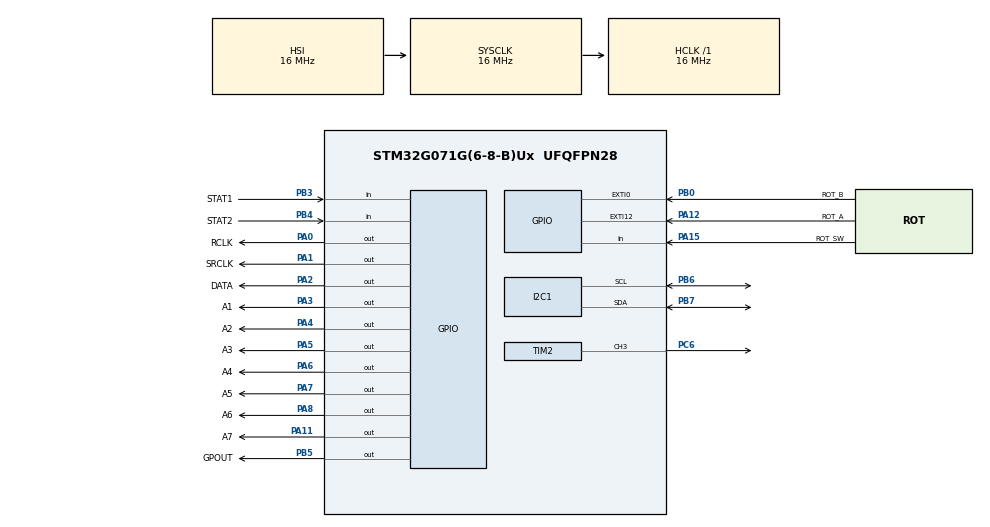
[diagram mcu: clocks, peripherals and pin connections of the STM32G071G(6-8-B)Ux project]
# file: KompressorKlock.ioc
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I2C1.Timing=0x00503D58
Mcu.Family=STM32G0
Mcu.Name=STM32G071G(6-8-B)Ux
Mcu.Package=UFQFPN28
NVIC.EXTI0_1_IRQn=true\:0\:0\:false\:false\:true\:true\:true\:true
NVIC.EXTI4_15_IRQn=true\:0\:0\:false\:false\:true\:true\:true\:true
NVIC.TIM3_IRQn=true\:0\:0\:false\:false\:true\:true\:true\:true
PA0.GPIO_Label=RCLK
PA0.GPIO_PuPd=GPIO_PULLDOWN
PA0.GPIO_Speed=GPIO_SPEED_FREQ_HIGH
PA0.PinState=GPIO_PIN_SET
PA0.Signal=GPIO_Output
PA1.GPIO_Label=SRCLK
PA1.GPIO_PuPd=GPIO_PULLDOWN
PA1.GPIO_Speed=GPIO_SPEED_FREQ_HIGH
PA1.PinState=GPIO_PIN_SET
PA1.Signal=GPIO_Output
PA11\ [PA9].GPIO_Label=A7
PA11\ [PA9].GPIO_PuPd=GPIO_PULLUP
PA11\ [PA9].GPIO_Speed=GPIO_SPEED_FREQ_HIGH
PA11\ [PA9].PinState=GPIO_PIN_SET
PA11\ [PA9].Signal=GPIO_Output
PA12\ [PA10].GPIO_Label=ROT_A
PA12\ [PA10].GPIO_ModeDefaultEXTI=GPIO_MODE_IT_RISING_FALLING
PA12\ [PA10].GPIO_PuPd=GPIO_PULLUP
PA12\ [PA10].Signal=GPXTI12
PA15.GPIO_Label=ROT_SW
PA15.GPIO_PuPd=GPIO_PULLUP
PA15.Signal=GPIO_Input
PA2.GPIO_Label=DATA
PA2.GPIO_PuPd=GPIO_PULLDOWN
PA2.GPIO_Speed=GPIO_SPEED_FREQ_HIGH
PA2.PinState=GPIO_PIN_SET
PA2.Signal=GPIO_Output
PA3.GPIO_Label=A1
PA3.GPIO_PuPd=GPIO_PULLUP
PA3.GPIO_Speed=GPIO_SPEED_FREQ_HIGH
PA3.PinState=GPIO_PIN_SET
PA3.Signal=GPIO_Output
PA4.GPIO_Label=A2
PA4.GPIO_PuPd=GPIO_PULLUP
PA4.GPIO_Speed=GPIO_SPEED_FREQ_HIGH
PA4.PinState=GPIO_PIN_SET
PA4.Signal=GPIO_Output
PA5.GPIO_Label=A3
PA5.GPIO_PuPd=GPIO_PULLUP
PA5.GPIO_Speed=GPIO_SPEED_FREQ_HIGH
PA5.PinState=GPIO_PIN_SET
PA5.Signal=GPIO_Output
PA6.GPIO_Label=A4
PA6.GPIO_PuPd=GPIO_PULLUP
PA6.GPIO_Speed=GPIO_SPEED_FREQ_HIGH
PA6.PinState=GPIO_PIN_SET
PA6.Signal=GPIO_Output
PA7.GPIO_Label=A5
PA7.GPIO_PuPd=GPIO_PULLUP
PA7.GPIO_Speed=GPIO_SPEED_FREQ_HIGH
PA7.PinState=GPIO_PIN_SET
PA7.Signal=GPIO_Output
PA8.GPIO_Label=A6
PA8.GPIO_PuPd=GPIO_PULLUP
PA8.GPIO_Speed=GPIO_SPEED_FREQ_HIGH
PA8.PinState=GPIO_PIN_SET
PA8.Signal=GPIO_Output
PB0.GPIO_Label=ROT_B
PB0.GPIO_ModeDefaultEXTI=GPIO_MODE_IT_RISING_FALLING
PB0.GPIO_PuPd=GPIO_PULLUP
PB0.Signal=GPXTI0
PB3.GPIO_Label=STAT1
PB3.Signal=GPIO_Input
PB4.GPIO_Label=STAT2
PB4.Signal=GPIO_Input
PB5.GPIO_Label=GPOUT
PB5.Signal=GPIO_Output
PB6.Mode=I2C
PB6.Signal=I2C1_SCL
PB7.Mode=I2C
PB7.Signal=I2C1_SDA
PC6.Signal=S_TIM2_CH3
ProjectManager.HeapSize=0x200
ProjectManager.StackSize=0x400
ProjectManager.TargetToolchain=STM32CubeIDE
RCC.AHBFreq_Value=16000000
RCC.CortexFreq_Value=16000000
RCC.EXTERNAL_CLOCK_VALUE=48000
RCC.HCLKFreq_Value=16000000
RCC.HSE_VALUE=8000000
RCC.HSI_VALUE=16000000
RCC.LSE_VALUE=32768
RCC.SYSCLKFreq_VALUE=16000000
RCC.VCOOutputFreq_Value=128000000
SH.S_TIM2_CH3.0=TIM2_CH3,PWM Generation3 CH3
TIM2.Channel-PWM\ Generation3\ CH3=TIM_CHANNEL_3
TIM3.AutoReloadPreload=TIM_AUTORELOAD_PRELOAD_ENABLE
TIM3.Channel-Output\ Compare1\ No\ Output=TIM_CHANNEL_1
TIM3.Period=999
TIM3.Prescaler=15
TIM3.TIM_MasterOutputTrigger=TIM_TRGO_UPDATE
VP_TIM2_VS_ClockSourceINT.Mode=Internal
VP_TIM3_VS_ClockSourceINT.Mode=Internal
VP_TIM3_VS_no_output1.Mode=Output Compare1 No Output
board=custom

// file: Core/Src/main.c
/* USER CODE BEGIN Header */
/**
*
*	Kompressor Klock
*	Sebastian Forenza 2026
*
*	Version 1.0
*
  *
  ******************************************************************************
  */
/* USER CODE END Header */
#include "main.h"

/* USER CODE BEGIN Includes */
#include "app.h"
/* USER CODE END Includes */

I2C_HandleTypeDef hi2c1;

TIM_HandleTypeDef htim2;
TIM_HandleTypeDef htim3;

void SystemClock_Config(void);
static void MX_GPIO_Init(void);
static void MX_TIM3_Init(void);
static void MX_I2C1_Init(void);
static void MX_TIM2_Init(void);

int main(void)
{

  /* USER CODE BEGIN 1 */
	  /* Force row pins HIGH (off) immediately — before HAL_Init or GPIO config.
	   * This prevents the LED matrix from showing stale shift register data
	   * during the brief window where MX_GPIO_Init configures pin modes.
	   */
	  RCC->IOPENR |= RCC_IOPENR_GPIOAEN;
	  (void)RCC->IOPENR;

	  GPIOA->MODER = (GPIOA->MODER
	    & ~(GPIO_MODER_MODE3_Msk | GPIO_MODER_MODE4_Msk | GPIO_MODER_MODE5_Msk
	      | GPIO_MODER_MODE6_Msk | GPIO_MODER_MODE7_Msk | GPIO_MODER_MODE8_Msk
	      | GPIO_MODER_MODE11_Msk))
	    | (0x01 << GPIO_MODER_MODE3_Pos)
	    | (0x01 << GPIO_MODER_MODE4_Pos)
	    | (0x01 << GPIO_MODER_MODE5_Pos)
	    | (0x01 << GPIO_MODER_MODE6_Pos)
	    | (0x01 << GPIO_MODER_MODE7_Pos)
	    | (0x01 << GPIO_MODER_MODE8_Pos)
	    | (0x01 << GPIO_MODER_MODE11_Pos);

	  GPIOA->BSRR = A1_Pin | A2_Pin | A3_Pin | A4_Pin
	               | A5_Pin | A6_Pin | A7_Pin;
  /* USER CODE END 1 */

  /* MCU Configuration--------------------------------------------------------*/

  /* Reset of all peripherals, Initializes the Flash interface and the Systick. */
  HAL_Init();

  /* Configure the system clock */
  SystemClock_Config();

  /* Initialize all configured peripherals */
  MX_GPIO_Init();
  MX_TIM3_Init();
  MX_I2C1_Init();
  MX_TIM2_Init();
  /* USER CODE BEGIN 2 */
  App_Init(&hi2c1);
  /* USER CODE END 2 */

  /* Infinite loop */
  while (1)
  {

    /* USER CODE BEGIN 3 */
	  App_Update();
  }
  /* USER CODE END 3 */
}

void SystemClock_Config(void)
{
  RCC_OscInitTypeDef RCC_OscInitStruct = {0};
  RCC_ClkInitTypeDef RCC_ClkInitStruct = {0};

  /** Configure the main internal regulator output voltage
  */
  HAL_PWREx_ControlVoltageScaling(PWR_REGULATOR_VOLTAGE_SCALE1);

  /** Initializes the RCC Oscillators according to the specified parameters
  * in the RCC_OscInitTypeDef structure.
  */
  RCC_OscInitStruct.OscillatorType = RCC_OSCILLATORTYPE_HSI;
  RCC_OscInitStruct.HSIState = RCC_HSI_ON;
  RCC_OscInitStruct.HSIDiv = RCC_HSI_DIV1;
  RCC_OscInitStruct.HSICalibrationValue = RCC_HSICALIBRATION_DEFAULT;
  RCC_OscInitStruct.PLL.PLLState = RCC_PLL_NONE;
  if (HAL_RCC_OscConfig(&RCC_OscInitStruct) != HAL_OK)
  {
    Error_Handler();
  }

  /** Initializes the CPU, AHB and APB buses clocks
  */
  RCC_ClkInitStruct.ClockType = RCC_CLOCKTYPE_HCLK|RCC_CLOCKTYPE_SYSCLK
                              |RCC_CLOCKTYPE_PCLK1;
  RCC_ClkInitStruct.SYSCLKSource = RCC_SYSCLKSOURCE_HSI;
  RCC_ClkInitStruct.AHBCLKDivider = RCC_SYSCLK_DIV1;
  RCC_ClkInitStruct.APB1CLKDivider = RCC_HCLK_DIV1;

  if (HAL_RCC_ClockConfig(&RCC_ClkInitStruct, FLASH_LATENCY_0) != HAL_OK)
  {
    Error_Handler();
  }
}

static void MX_I2C1_Init(void)
{

  hi2c1.Instance = I2C1;
  hi2c1.Init.Timing = 0x00503D58;
  hi2c1.Init.OwnAddress1 = 0;
  hi2c1.Init.AddressingMode = I2C_ADDRESSINGMODE_7BIT;
  hi2c1.Init.DualAddressMode = I2C_DUALADDRESS_DISABLE;
  hi2c1.Init.OwnAddress2 = 0;
  hi2c1.Init.OwnAddress2Masks = I2C_OA2_NOMASK;
  hi2c1.Init.GeneralCallMode = I2C_GENERALCALL_DISABLE;
  hi2c1.Init.NoStretchMode = I2C_NOSTRETCH_DISABLE;
  if (HAL_I2C_Init(&hi2c1) != HAL_OK)
  {
    Error_Handler();
  }

  /** Configure Analogue filter
  */
  if (HAL_I2CEx_ConfigAnalogFilter(&hi2c1, I2C_ANALOGFILTER_ENABLE) != HAL_OK)
  {
    Error_Handler();
  }

  /** Configure Digital filter
  */
  if (HAL_I2CEx_ConfigDigitalFilter(&hi2c1, 0) != HAL_OK)
  {
    Error_Handler();
  }

}

static void MX_TIM2_Init(void)
{

  TIM_ClockConfigTypeDef sClockSourceConfig = {0};
  TIM_MasterConfigTypeDef sMasterConfig = {0};
  TIM_OC_InitTypeDef sConfigOC = {0};

  htim2.Instance = TIM2;
  htim2.Init.Prescaler = 0;
  htim2.Init.CounterMode = TIM_COUNTERMODE_UP;
  htim2.Init.Period = 4294967295;
  htim2.Init.ClockDivision = TIM_CLOCKDIVISION_DIV1;
  htim2.Init.AutoReloadPreload = TIM_AUTORELOAD_PRELOAD_DISABLE;
  if (HAL_TIM_Base_Init(&htim2) != HAL_OK)
  {
    Error_Handler();
  }
  sClockSourceConfig.ClockSource = TIM_CLOCKSOURCE_INTERNAL;
  if (HAL_TIM_ConfigClockSource(&htim2, &sClockSourceConfig) != HAL_OK)
  {
    Error_Handler();
  }
  if (HAL_TIM_PWM_Init(&htim2) != HAL_OK)
  {
    Error_Handler();
  }
  sMasterConfig.MasterOutputTrigger = TIM_TRGO_RESET;
  sMasterConfig.MasterSlaveMode = TIM_MASTERSLAVEMODE_DISABLE;
  if (HAL_TIMEx_MasterConfigSynchronization(&htim2, &sMasterConfig) != HAL_OK)
  {
    Error_Handler();
  }
  sConfigOC.OCMode = TIM_OCMODE_PWM1;
  sConfigOC.Pulse = 0;
  sConfigOC.OCPolarity = TIM_OCPOLARITY_HIGH;
  sConfigOC.OCFastMode = TIM_OCFAST_DISABLE;
  if (HAL_TIM_PWM_ConfigChannel(&htim2, &sConfigOC, TIM_CHANNEL_3) != HAL_OK)
  {
    Error_Handler();
  }
  HAL_TIM_MspPostInit(&htim2);

}

static void MX_TIM3_Init(void)
{

  TIM_ClockConfigTypeDef sClockSourceConfig = {0};
  TIM_MasterConfigTypeDef sMasterConfig = {0};
  TIM_OC_InitTypeDef sConfigOC = {0};

  htim3.Instance = TIM3;
  htim3.Init.Prescaler = 15;
  htim3.Init.CounterMode = TIM_COUNTERMODE_UP;
  htim3.Init.Period = 999;
  htim3.Init.ClockDivision = TIM_CLOCKDIVISION_DIV1;
  htim3.Init.AutoReloadPreload = TIM_AUTORELOAD_PRELOAD_ENABLE;
  if (HAL_TIM_Base_Init(&htim3) != HAL_OK)
  {
    Error_Handler();
  }
  sClockSourceConfig.ClockSource = TIM_CLOCKSOURCE_INTERNAL;
  if (HAL_TIM_ConfigClockSource(&htim3, &sClockSourceConfig) != HAL_OK)
  {
    Error_Handler();
  }
  if (HAL_TIM_OC_Init(&htim3) != HAL_OK)
  {
    Error_Handler();
  }
  sMasterConfig.MasterOutputTrigger = TIM_TRGO_UPDATE;
  sMasterConfig.MasterSlaveMode = TIM_MASTERSLAVEMODE_DISABLE;
  if (HAL_TIMEx_MasterConfigSynchronization(&htim3, &sMasterConfig) != HAL_OK)
  {
    Error_Handler();
  }
  sConfigOC.OCMode = TIM_OCMODE_TIMING;
  sConfigOC.Pulse = 0;
  sConfigOC.OCPolarity = TIM_OCPOLARITY_HIGH;
  sConfigOC.OCFastMode = TIM_OCFAST_DISABLE;
  if (HAL_TIM_OC_ConfigChannel(&htim3, &sConfigOC, TIM_CHANNEL_1) != HAL_OK)
  {
    Error_Handler();
  }

}

static void MX_GPIO_Init(void)
{
  GPIO_InitTypeDef GPIO_InitStruct = {0};

  /* GPIO Ports Clock Enable */
  __HAL_RCC_GPIOA_CLK_ENABLE();
  __HAL_RCC_GPIOB_CLK_ENABLE();
  __HAL_RCC_GPIOC_CLK_ENABLE();

  /*Configure GPIO pin Output Level */
  HAL_GPIO_WritePin(GPIOA, RCLK_Pin|SRCLK_Pin|DATA_Pin|A1_Pin
                          |A2_Pin|A3_Pin|A4_Pin|A5_Pin
                          |A6_Pin|A7_Pin, GPIO_PIN_SET);

  /*Configure GPIO pin Output Level */
  HAL_GPIO_WritePin(GPOUT_GPIO_Port, GPOUT_Pin, GPIO_PIN_RESET);

  /*Configure GPIO pins : RCLK_Pin SRCLK_Pin DATA_Pin */
  GPIO_InitStruct.Pin = RCLK_Pin|SRCLK_Pin|DATA_Pin;
  GPIO_InitStruct.Mode = GPIO_MODE_OUTPUT_PP;
  GPIO_InitStruct.Pull = GPIO_PULLDOWN;
  GPIO_InitStruct.Speed = GPIO_SPEED_FREQ_HIGH;
  HAL_GPIO_Init(GPIOA, &GPIO_InitStruct);

  /*Configure GPIO pins : A1_Pin A2_Pin A3_Pin A4_Pin
                           A5_Pin A6_Pin A7_Pin */
  GPIO_InitStruct.Pin = A1_Pin|A2_Pin|A3_Pin|A4_Pin
                          |A5_Pin|A6_Pin|A7_Pin;
  GPIO_InitStruct.Mode = GPIO_MODE_OUTPUT_PP;
  GPIO_InitStruct.Pull = GPIO_PULLUP;
  GPIO_InitStruct.Speed = GPIO_SPEED_FREQ_HIGH;
  HAL_GPIO_Init(GPIOA, &GPIO_InitStruct);

  /*Configure GPIO pin : ROT_B_Pin */
  GPIO_InitStruct.Pin = ROT_B_Pin;
  GPIO_InitStruct.Mode = GPIO_MODE_IT_RISING_FALLING;
  GPIO_InitStruct.Pull = GPIO_PULLUP;
  HAL_GPIO_Init(ROT_B_GPIO_Port, &GPIO_InitStruct);

  /*Configure GPIO pin : ROT_A_Pin */
  GPIO_InitStruct.Pin = ROT_A_Pin;
  GPIO_InitStruct.Mode = GPIO_MODE_IT_RISING_FALLING;
  GPIO_InitStruct.Pull = GPIO_PULLUP;
  HAL_GPIO_Init(ROT_A_GPIO_Port, &GPIO_InitStruct);

  /*Configure GPIO pin : ROT_SW_Pin */
  GPIO_InitStruct.Pin = ROT_SW_Pin;
  GPIO_InitStruct.Mode = GPIO_MODE_INPUT;
  GPIO_InitStruct.Pull = GPIO_PULLUP;
  HAL_GPIO_Init(ROT_SW_GPIO_Port, &GPIO_InitStruct);

  /*Configure GPIO pins : STAT1_Pin STAT2_Pin */
  GPIO_InitStruct.Pin = STAT1_Pin|STAT2_Pin;
  GPIO_InitStruct.Mode = GPIO_MODE_INPUT;
  GPIO_InitStruct.Pull = GPIO_NOPULL;
  HAL_GPIO_Init(GPIOB, &GPIO_InitStruct);

  /*Configure GPIO pin : GPOUT_Pin */
  GPIO_InitStruct.Pin = GPOUT_Pin;
  GPIO_InitStruct.Mode = GPIO_MODE_OUTPUT_PP;
  GPIO_InitStruct.Pull = GPIO_NOPULL;
  GPIO_InitStruct.Speed = GPIO_SPEED_FREQ_LOW;
  HAL_GPIO_Init(GPOUT_GPIO_Port, &GPIO_InitStruct);

  /* EXTI interrupt init*/
  HAL_NVIC_SetPriority(EXTI0_1_IRQn, 0, 0);
  HAL_NVIC_EnableIRQ(EXTI0_1_IRQn);

  HAL_NVIC_SetPriority(EXTI4_15_IRQn, 0, 0);
  HAL_NVIC_EnableIRQ(EXTI4_15_IRQn);

}

void Error_Handler(void)
{
  __disable_irq();
  while (1)
  {
  }
}
